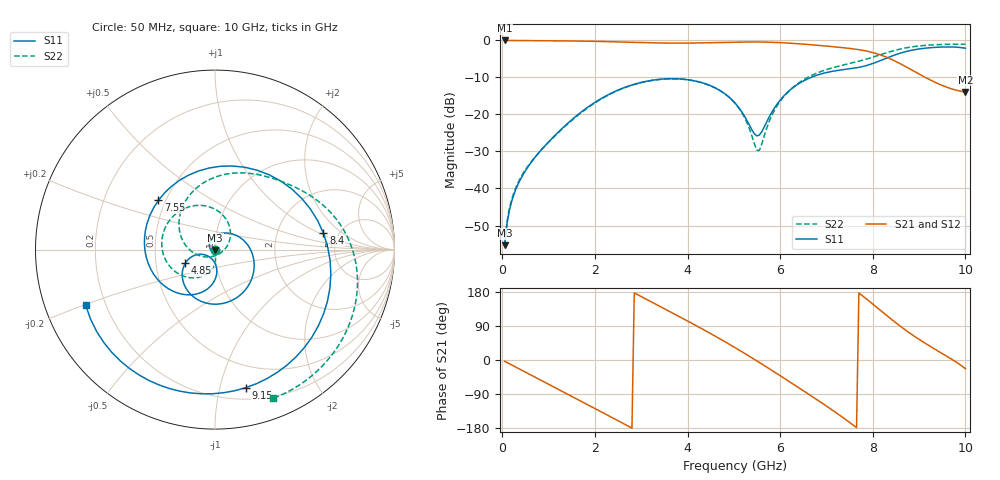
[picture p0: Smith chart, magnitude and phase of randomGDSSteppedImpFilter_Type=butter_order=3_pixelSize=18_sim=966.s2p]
! freq	dB(S11)	phase(S11)	dB(S12)	phase(S12)
!  dB(S21)	phase(S21)	dB(S22)	phase(S22)
!S-par simulation data
#  GHz  S  DB  R 50
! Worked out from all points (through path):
!   200 points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, 50 MHz to 10 GHz, reference 50 ohm
!   highest |S21| = -0.01 dB at 50 MHz (marker M1); lowest = -13.9 dB at 10 GHz (marker M2)
!   group delay of S21, straight-line fit = 207 ps
!   lowest |S11| = -55.3 dB at 50 MHz (marker M3), VSWR 1.00, Z = 50 - j0.166 ohm
!   |S11| at or under -10 dB: start of sweep to 6.664 GHz
!   |S22| runs from -55.6 to -1.0 dB; largest |S21 - S12| = 0
!   S11 on the Smith chart (normalised r, x): 50 MHz: 1.00, -0.00; 4.85 GHz: 0.71, -0.11; 7.55 GHz: 0.46, +0.30; 8.4 GHz: 3.80, +1.10; 9.15 GHz: 0.30, -1.20; 10 GHz: 0.13, -0.20
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0.05  -55.35 -76.0  -0.01 -3.2  -0.01 -3.2  -55.58 -75.5
0.2  -43.59 -112.3  -0.02 -12.8  -0.02 -12.8  -43.10 -83.8
0.45  -36.22 -150.1  -0.04 -28.7  -0.04 -28.7  -35.89 -86.1
1.15  -25.49 118.1  -0.10 -73.2  -0.10 -73.2  -25.64 -86.6
1.75  -18.91 54.5  -0.19 -111.8  -0.19 -111.8  -19.08 -99.4
2.6  -12.90 -16.6  -0.43 -166.8  -0.43 -166.8  -12.98 -137.7
3.4  -10.50 -72.0  -0.68 141.8  -0.68 141.8  -10.54 175.7
4.15  -10.92 -118.0  -0.70 93.2  -0.70 93.2  -10.93 125.7
4.85  -14.84 -155.5  -0.51 45.3  -0.51 45.3  -14.84 70.3
5.05  -17.27 -162.8  -0.46 30.9  -0.46 30.9  -17.33 51.0
5.55  -25.56 -114.3  -0.43 -6.4  -0.43 -6.4  -29.69 -80.6
6  -16.12 -88.4  -0.59 -41.3  -0.59 -41.3  -16.42 176.9
6.7  -9.82 -132.4  -1.20 -97.1  -1.20 -97.1  -9.33 112.7
7.15  -8.29 -173.2  -1.70 -134.1  -1.70 -134.1  -7.32 79.5
7.55  -7.58 139.0  -2.24 -169.2  -2.24 -169.2  -6.09 55.3
8  -6.24 70.3  -3.28 147.6  -3.28 147.6  -4.53 32.5
8.35  -4.52 15.7  -4.81 112.5  -4.81 112.5  -3.13 14.0
8.4  -4.28 8.5  -5.09 107.6  -5.09 107.6  -2.95 11.2
8.7  -3.06 -30.6  -7.00 79.5  -7.00 79.5  -2.05 -5.9
9.15  -2.07 -77.5  -10.09 42.8  -10.09 42.8  -1.32 -30.5
9.6  -1.76 -116.9  -12.64 9.9  -12.64 9.9  -1.05 -52.1
10  -2.11 -156.9  -13.93 -23.0  -13.93 -23.0  -1.02 -68.7
